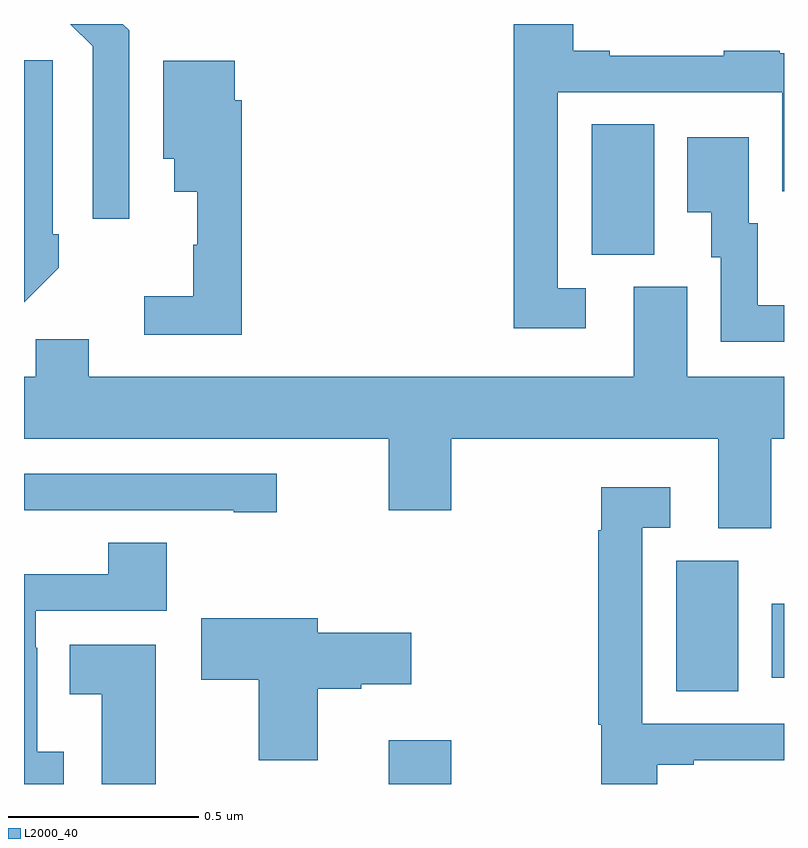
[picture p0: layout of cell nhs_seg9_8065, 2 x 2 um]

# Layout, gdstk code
import gdstk
lib = gdstk.Library(unit=1e-6, precision=1e-09)
def R(c, l, rs):  # rectangles x0, y0, x1, y1
    for r in rs: c.add(gdstk.rectangle(r[:2], r[2:], *l))
def P(c, l, *ps):  # polygons
    for p in ps: c.add(gdstk.Polygon(p, *l))
L2000_40 = (2000, 40)

nhs_seg9_8065 = lib.new_cell('nhs_seg9_8065')
R(nhs_seg9_8065, L2000_40, [(212.96,1207.5,213.124,1207.615), (213.716,1207.744,213.88,1208.088), (213.968,1207.779,214,1207.975), (213.494,1208.893,213.658,1209.236)])
P(nhs_seg9_8065, L2000_40, [(212.277,1209.483),(212.26,1209.5),(212.122,1209.5),(212.181,1209.441),(212.181,1208.988),(212.277,1208.988)],
  [(213.478,1208.805),(213.405,1208.805),(213.405,1209.321),(213.996,1209.321),(213.996,1209.06),(214,1209.06),(214,1209.423),(213.989,1209.423),(213.989,1209.43),(213.841,1209.43),(213.841,1209.417),(213.541,1209.417),(213.541,1209.43),(213.445,1209.43),(213.445,1209.5),(213.289,1209.5),(213.289,1208.7),(213.478,1208.7)],
  [(212.091,1208.859),(212.091,1208.947),(212.076,1208.947),(212.076,1209.405),(212,1209.405),(212,1208.768)],
  [(212.573,1209.299),(212.554,1209.299),(212.554,1209.403),(212.366,1209.403),(212.366,1209.146),(212.396,1209.146),(212.396,1209.059),(212.456,1209.059),(212.456,1208.919),(212.445,1208.919),(212.445,1208.783),(212.316,1208.783),(212.316,1208.682),(212.573,1208.682)],
  [(214,1208.76),(213.931,1208.76),(213.931,1208.976),(213.907,1208.976),(213.907,1209.202),(213.746,1209.202),(213.746,1209.005),(213.809,1209.005),(213.809,1208.886),(213.834,1208.886),(213.834,1208.664),(214,1208.664)],
  [(213.967,1208.408),(214,1208.408),(214,1208.572),(213.745,1208.572),(213.745,1208.808),(213.605,1208.808),(213.605,1208.572),(212.17,1208.572),(212.17,1208.67),(212.031,1208.67),(212.031,1208.572),(212,1208.572),(212,1208.408),(212.96,1208.408),(212.96,1208.22),(213.124,1208.22),(213.124,1208.408),(213.827,1208.408),(213.827,1208.173),(213.967,1208.173)],
  [(212.665,1208.316),(212,1208.316),(212,1208.22),(212.552,1208.22),(212.552,1208.215),(212.665,1208.215)],
  [(213.667,1207.551),(213.763,1207.551),(213.763,1207.563),(214,1207.563),(214,1207.659),(213.627,1207.659),(213.627,1208.175),(213.7,1208.175),(213.7,1208.281),(213.519,1208.281),(213.519,1208.168),(213.511,1208.168),(213.511,1207.656),(213.519,1207.656),(213.519,1207.5),(213.667,1207.5)],
  [(212.104,1207.585),(212.035,1207.585),(212.035,1207.859),(212.031,1207.859),(212.031,1207.956),(212.375,1207.956),(212.375,1208.135),(212.222,1208.135),(212.222,1208.052),(212,1208.052),(212,1207.5),(212.104,1207.5)],
  [(212.773,1207.751),(212.888,1207.751),(212.888,1207.763),(213.019,1207.763),(213.019,1207.898),(212.773,1207.898),(212.773,1207.936),(212.466,1207.936),(212.466,1207.774),(212.618,1207.774),(212.618,1207.563),(212.773,1207.563)],
  [(212.347,1207.867),(212.12,1207.867),(212.12,1207.736),(212.204,1207.736),(212.204,1207.5),(212.347,1207.5)])

lib.write_gds('nhs_seg9_8065.gds')
